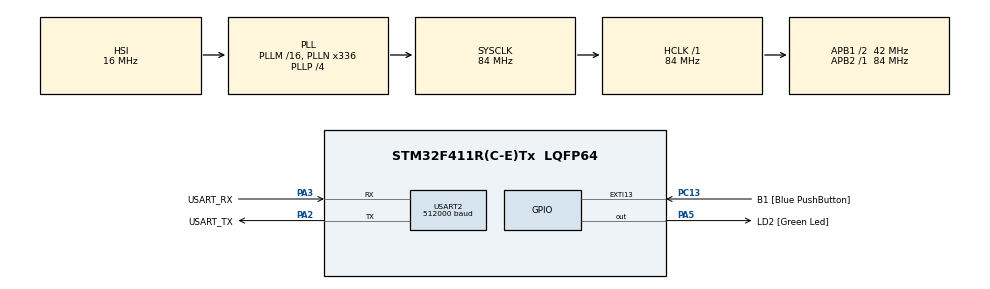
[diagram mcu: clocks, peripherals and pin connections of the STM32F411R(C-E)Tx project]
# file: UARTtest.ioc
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Dma.Request0=USART2_TX
Dma.USART2_TX.0.Direction=DMA_MEMORY_TO_PERIPH
Dma.USART2_TX.0.FIFOMode=DMA_FIFOMODE_DISABLE
Dma.USART2_TX.0.Instance=DMA1_Stream6
Dma.USART2_TX.0.MemDataAlignment=DMA_MDATAALIGN_BYTE
Dma.USART2_TX.0.MemInc=DMA_MINC_ENABLE
Dma.USART2_TX.0.Mode=DMA_NORMAL
Dma.USART2_TX.0.PeriphDataAlignment=DMA_PDATAALIGN_BYTE
Dma.USART2_TX.0.PeriphInc=DMA_PINC_DISABLE
Dma.USART2_TX.0.Priority=DMA_PRIORITY_LOW
Mcu.Family=STM32F4
Mcu.Name=STM32F411R(C-E)Tx
Mcu.Package=LQFP64
NVIC.DMA1_Stream6_IRQn=true\:0\:0\:false\:false\:true\:false\:true
NVIC.PriorityGroup=NVIC_PRIORITYGROUP_0
NVIC.USART2_IRQn=true\:0\:0\:false\:false\:true\:true\:true
PA13.GPIO_Label=TMS
PA13.Mode=Serial_Wire
PA13.Signal=SYS_JTMS-SWDIO
PA14.GPIO_Label=TCK
PA14.Mode=Serial_Wire
PA14.Signal=SYS_JTCK-SWCLK
PA2.GPIO_Label=USART_TX
PA2.Mode=Asynchronous
PA2.Signal=USART2_TX
PA3.GPIO_Label=USART_RX
PA3.Mode=Asynchronous
PA3.Signal=USART2_RX
PA5.GPIO_Label=LD2 [Green Led]
PA5.Signal=GPIO_Output
PB3.GPIO_Label=SWO
PB3.Signal=SYS_JTDO-SWO
PC13-ANTI_TAMP.GPIO_Label=B1 [Blue PushButton]
PC13-ANTI_TAMP.GPIO_ModeDefaultEXTI=GPIO_MODE_IT_FALLING
PC13-ANTI_TAMP.Signal=GPXTI13
PC14-OSC32_IN.Mode=LSE-External-Oscillator
PC14-OSC32_IN.Signal=RCC_OSC32_IN
PC15-OSC32_OUT.Mode=LSE-External-Oscillator
PC15-OSC32_OUT.Signal=RCC_OSC32_OUT
PH0\ -\ OSC_IN.Mode=HSE-External-Clock-Source
PH0\ -\ OSC_IN.Signal=RCC_OSC_IN
PH1\ -\ OSC_OUT.Mode=HSE-External-Clock-Source
PH1\ -\ OSC_OUT.Signal=RCC_OSC_OUT
ProjectManager.HeapSize=0x200
ProjectManager.StackSize=0x400
ProjectManager.TargetToolchain=STM32CubeIDE
RCC.48MHZClocksFreq_Value=84000000
RCC.AHBFreq_Value=84000000
RCC.APB1CLKDivider=RCC_HCLK_DIV2
RCC.APB1Freq_Value=42000000
RCC.APB1TimFreq_Value=84000000
RCC.APB2Freq_Value=84000000
RCC.APB2TimFreq_Value=84000000
RCC.CortexFreq_Value=84000000
RCC.FLatency-AdvancedSettings=FLASH_LATENCY_2
RCC.HCLKFreq_Value=84000000
RCC.HSE_VALUE=8000000
RCC.HSI_VALUE=16000000
RCC.PLLN=336
RCC.PLLP=RCC_PLLP_DIV4
RCC.SYSCLKFreq_VALUE=84000000
RCC.SYSCLKSource=RCC_SYSCLKSOURCE_PLLCLK
RCC.VCOOutputFreq_Value=336000000
USART2.BaudRate=512000
USART2.Parity=PARITY_EVEN
USART2.VirtualMode=VM_ASYNC
USART2.WordLength=WORDLENGTH_9B
board=NUCLEO-F411RE

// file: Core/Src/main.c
/* USER CODE BEGIN Header */
/**
 ******************************************************************************
 * @file           : main.c
 * @brief          : Main program body
 ******************************************************************************
 * @attention
 *
 * Copyright (c) 2022 STMicroelectronics.
 * All rights reserved.
 *
 * This software is licensed under terms that can be found in the LICENSE file
 * in the root directory of this software component.
 * If no LICENSE file comes with this software, it is provided AS-IS.
 *
 ******************************************************************************
 */
/* USER CODE END Header */
#include "main.h"

UART_HandleTypeDef huart2;
DMA_HandleTypeDef hdma_usart2_tx;

/* USER CODE BEGIN PV */
uint8_t RxDataBuffer[32] = { 0 };
uint8_t command = 0;
uint8_t connected = 0;
uint8_t ACK_1[] = { 0x58, 0b01110101 };
/* USER CODE END PV */

void SystemClock_Config(void);
static void MX_DMA_Init(void);
static void MX_GPIO_Init(void);
static void MX_USART2_UART_Init(void);

/* USER CODE BEGIN 0 */
void UARTRecieveIT();
/* USER CODE END 0 */

int main(void) {

	/* MCU Configuration--------------------------------------------------------*/

	/* Reset of all peripherals, Initializes the Flash interface and the Systick. */
	HAL_Init();

	/* Initialize all configured peripherals */
	MX_DMA_Init();
	MX_GPIO_Init();
	MX_USART2_UART_Init();
	/* USER CODE BEGIN 2 */
	HAL_UART_Receive_IT(&huart2, RxDataBuffer, 32);
	/* USER CODE END 2 */

	/* Infinite loop */
	/* USER CODE BEGIN WHILE */
	while (1) {
		UARTRecieveIT();
		/* USER CODE END WHILE */

	}
}

void SystemClock_Config(void) {
	RCC_OscInitTypeDef RCC_OscInitStruct = { 0 };
	RCC_ClkInitTypeDef RCC_ClkInitStruct = { 0 };

	/** Configure the main internal regulator output voltage
	 */
	__HAL_RCC_PWR_CLK_ENABLE();
	__HAL_PWR_VOLTAGESCALING_CONFIG(PWR_REGULATOR_VOLTAGE_SCALE1);
	/** Initializes the RCC Oscillators according to the specified parameters
	 * in the RCC_OscInitTypeDef structure.
	 */
	RCC_OscInitStruct.OscillatorType = RCC_OSCILLATORTYPE_HSI;
	RCC_OscInitStruct.HSIState = RCC_HSI_ON;
	RCC_OscInitStruct.HSICalibrationValue = RCC_HSICALIBRATION_DEFAULT;
	RCC_OscInitStruct.PLL.PLLState = RCC_PLL_ON;
	RCC_OscInitStruct.PLL.PLLSource = RCC_PLLSOURCE_HSI;
	RCC_OscInitStruct.PLL.PLLM = 16;
	RCC_OscInitStruct.PLL.PLLN = 336;
	RCC_OscInitStruct.PLL.PLLP = RCC_PLLP_DIV4;
	RCC_OscInitStruct.PLL.PLLQ = 4;
	if (HAL_RCC_OscConfig(&RCC_OscInitStruct) != HAL_OK) {
		Error_Handler();
	}
	/** Initializes the CPU, AHB and APB buses clocks
	 */
	RCC_ClkInitStruct.ClockType = RCC_CLOCKTYPE_HCLK | RCC_CLOCKTYPE_SYSCLK
			| RCC_CLOCKTYPE_PCLK1 | RCC_CLOCKTYPE_PCLK2;
	RCC_ClkInitStruct.SYSCLKSource = RCC_SYSCLKSOURCE_PLLCLK;
	RCC_ClkInitStruct.AHBCLKDivider = RCC_SYSCLK_DIV1;
	RCC_ClkInitStruct.APB1CLKDivider = RCC_HCLK_DIV2;
	RCC_ClkInitStruct.APB2CLKDivider = RCC_HCLK_DIV1;

	if (HAL_RCC_ClockConfig(&RCC_ClkInitStruct, FLASH_LATENCY_2) != HAL_OK) {
		Error_Handler();
	}
}

static void MX_USART2_UART_Init(void) {

	huart2.Instance = USART2;
	huart2.Init.BaudRate = 512000;
	huart2.Init.WordLength = UART_WORDLENGTH_9B;
	huart2.Init.StopBits = UART_STOPBITS_1;
	huart2.Init.Parity = UART_PARITY_EVEN;
	huart2.Init.Mode = UART_MODE_TX_RX;
	huart2.Init.HwFlowCtl = UART_HWCONTROL_NONE;
	huart2.Init.OverSampling = UART_OVERSAMPLING_16;
	if (HAL_UART_Init(&huart2) != HAL_OK) {
		Error_Handler();
	}

}

static void MX_DMA_Init(void) {

	/* DMA controller clock enable */
	__HAL_RCC_DMA1_CLK_ENABLE();

	/* DMA interrupt init */
	/* DMA1_Stream6_IRQn interrupt configuration */
	HAL_NVIC_SetPriority(DMA1_Stream6_IRQn, 0, 0);
	HAL_NVIC_EnableIRQ(DMA1_Stream6_IRQn);

}

static void MX_GPIO_Init(void) {
	GPIO_InitTypeDef GPIO_InitStruct = { 0 };

	/* GPIO Ports Clock Enable */
	__HAL_RCC_GPIOC_CLK_ENABLE();
	__HAL_RCC_GPIOH_CLK_ENABLE();
	__HAL_RCC_GPIOA_CLK_ENABLE();
	__HAL_RCC_GPIOB_CLK_ENABLE();

	/*Configure GPIO pin Output Level */
	HAL_GPIO_WritePin(LD2_GPIO_Port, LD2_Pin, GPIO_PIN_RESET);

	/*Configure GPIO pin : B1_Pin */
	GPIO_InitStruct.Pin = B1_Pin;
	GPIO_InitStruct.Mode = GPIO_MODE_IT_FALLING;
	GPIO_InitStruct.Pull = GPIO_NOPULL;
	HAL_GPIO_Init(B1_GPIO_Port, &GPIO_InitStruct);

	/*Configure GPIO pin : LD2_Pin */
	GPIO_InitStruct.Pin = LD2_Pin;
	GPIO_InitStruct.Mode = GPIO_MODE_OUTPUT_PP;
	GPIO_InitStruct.Pull = GPIO_NOPULL;
	GPIO_InitStruct.Speed = GPIO_SPEED_FREQ_LOW;
	HAL_GPIO_Init(LD2_GPIO_Port, &GPIO_InitStruct);

}

/* USER CODE BEGIN 4 */
void UARTRecieveIT() {
	static uint8_t sum = 0;
	static uint8_t str_idx = 0;
	static uint32_t dataPos = 0;
	int8_t data = -1;
	if (huart2.RxXferSize - huart2.RxXferCount != dataPos) {
		if ((uint8_t)RxDataBuffer[dataPos]==(uint8_t)(~sum)) {
			sum = 0;
			switch (RxDataBuffer[str_idx]) {
			case 0b10010010:
				//mode 2
				connected = 1;
				break;
			case 0b10010011:
				//mode 3
				connected = 0;
				break;
			}
			str_idx = (dataPos + 1) % huart2.RxXferSize;
			HAL_UART_Transmit_DMA(&huart2, ACK_1, 2);
		} else {
			sum = sum+RxDataBuffer[dataPos];
		}
		dataPos = (dataPos + 1) % huart2.RxXferSize;
	}
}

void HAL_UART_RxCpltCallback(UART_HandleTypeDef *huart) {
	HAL_UART_Receive_IT(&huart2, RxDataBuffer, 32);
}
/* USER CODE END 4 */

void Error_Handler(void) {
	__disable_irq();
	while (1) {
	}
}
